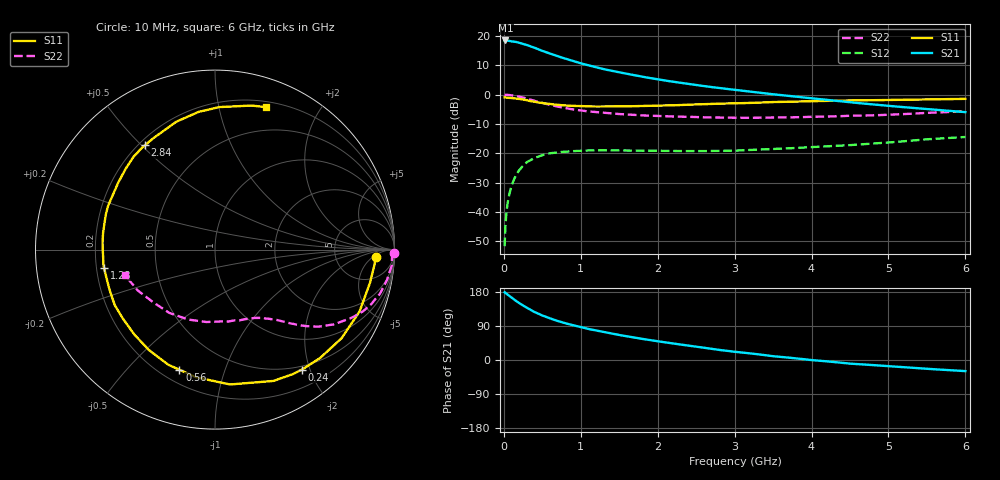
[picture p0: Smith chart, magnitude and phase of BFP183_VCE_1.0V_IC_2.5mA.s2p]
! Infineon Technologies  Discrete & RF Semiconductors
! BFP183
! VCE = 1.0 V,  IC =  2.5 mA
! Common Emitter S-Parameters:  Jan 2016
# GHz  S  MA  R  50
!  f  S11  S21  S12  S22
! GHz  MAG  ANG  MAG  ANG  MAG  ANG  MAG  ANG
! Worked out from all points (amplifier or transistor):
!   210 points, 10 MHz to 6 GHz, reference 50 ohm
!   highest |S21| = 18.4 dB at 20 MHz (marker M1)
!   |S21| within 3 dB of that: start of sweep to 447.7 MHz
!   unconditionally stable (mu >= 1): 1.912 GHz to end of sweep
!   at 185 MHz: K = 0.11, MSG = 22.1 dB, |S12| = -26.4 dB
!   at 1.52 GHz: K = 0.82, MSG = 13.3 dB, |S12| = -19.1 dB
!   at 6 GHz: K = 1.07, MAG = 2.6 dB, |S12| = -14.5 dB
!   S11 on the Smith chart (normalised r, x): 10 MHz: 16, -6; 240 MHz: 0.45, -1.88; 560 MHz: 0.27, -0.71; 1.28 GHz: 0.23, -0.08; 2.84 GHz: 0.22, +0.51; 6 GHz: 0.25, +1.39
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0.01  0.8958 -2.5  8.258 178.8  0.0026 86.7  0.9964 -1.0
0.02  0.8936 -4.9  8.357 177.5  0.0055 88.8  0.9872 -2.0
0.04  0.8849 -9.7  8.347 174.0  0.0114 86.1  0.9879 -4.1
0.06  0.8789 -14.4  8.283 170.8  0.017 82.7  0.985 -6.1
0.15  0.8609 -35.0  7.935 157.1  0.0401 70.2  0.9513 -15.0
0.2  0.8411 -45.9  7.669 150.1  0.0513 65.0  0.9213 -19.3
0.24  0.8259 -54.0  7.344 145.0  0.0592 60.3  0.895 -22.4
0.3  0.8009 -66.0  6.993 137.8  0.0704 54.6  0.8508 -26.5
0.4  0.7562 -83.6  6.287 126.4  0.0831 46.4  0.7808 -32.3
0.5  0.7189 -98.5  5.548 117.4  0.0929 39.3  0.7184 -36.7
0.56  0.698 -106.5  5.212 113.0  0.0969 36.0  0.6873 -38.5
0.7  0.6698 -123.4  4.487 102.9  0.1036 29.8  0.6229 -42.3
0.8  0.6525 -133.6  4.101 96.8  0.1063 26.2  0.5871 -44.4
1.02  0.6358 -152.5  3.351 85.7  0.1101 20.4  0.5305 -48.1
1.28  0.6262 -170.8  2.749 74.6  0.1122 15.5  0.4907 -51.8
1.6  0.6306 171.4  2.258 62.5  0.111 12.5  0.4569 -56.3
2.02  0.6451 152.3  1.794 48.8  0.1098 11.3  0.431 -63.1
2.84  0.7004 123.9  1.273 25.7  0.11 13.2  0.4062 -80.3
3.1  0.7135 116.6  1.163 19.7  0.112 14.6  0.4013 -86.8
4.1  0.7756 95.1  0.837 -1.8  0.1287 18.2  0.4187 -114.1
5.1  0.811 80.3  0.625 -17.8  0.1556 19.1  0.4576 -142.2
6  0.8437 70.2  0.501 -29.3  0.189 14.0  0.5218 -164.3
